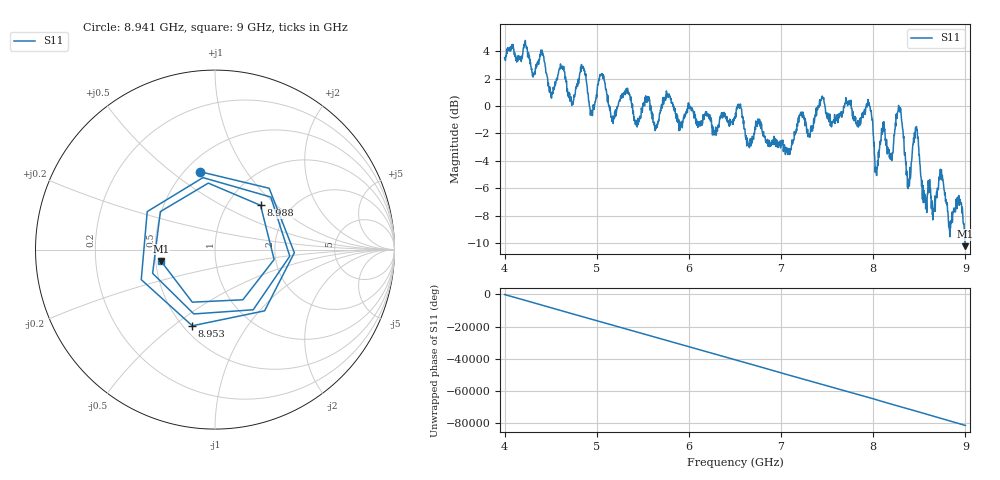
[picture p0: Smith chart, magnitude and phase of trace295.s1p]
! Created with skrf 1.8.0 (http://scikit-rf.org).
# Hz S RI R 50.0
!freq ReS11 ImS11
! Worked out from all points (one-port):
!   1601 points, 4 GHz to 9 GHz, reference 50 ohm
!   lowest |S11| = -10.2 dB at 9 GHz (marker M1), VSWR 1.89, Z = 26.7 - j3.75 ohm
!   |S11| at or under -10 dB: 8.997752 GHz to end of sweep
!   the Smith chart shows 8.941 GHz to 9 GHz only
!   S11 on the Smith chart (normalised r, x): 8.941 GHz: 0.59, +0.64; 8.953 GHz: 0.55, -0.59; 8.988 GHz: 1.42, +0.80; 9 GHz: 0.53, -0.07
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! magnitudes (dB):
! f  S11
! 4 GHz  3.5
! 4.406 GHz  4.1
! 4.506 GHz  0.7
! 4.625 GHz  2.8
! 4.725 GHz  0.4
! 4.844 GHz  2.8
! 4.944 GHz  -0.6
! 5.053 GHz  2.4
! 5.166 GHz  -1.1
! 5.25 GHz  0.4
! 5.875 GHz  -0.7
! 6.5 GHz  -0.8
! 7.125 GHz  -2.8
! 7.441 GHz  0.6
! 7.75 GHz  0.1
! 7.953 GHz  0.2
! 8.038 GHz  -5.1
! 8.197 GHz  -3.5
! 8.288 GHz  -0.1
! 8.375 GHz  -5.4
! 8.462 GHz  -1.8
! 8.559 GHz  -6.4
! 8.738 GHz  -4.6
! 8.834 GHz  -8.8
! 8.941 GHz  -7.1
! 8.953 GHz  -7.1
! 8.988 GHz  -9.0
! 9 GHz  -10.2
